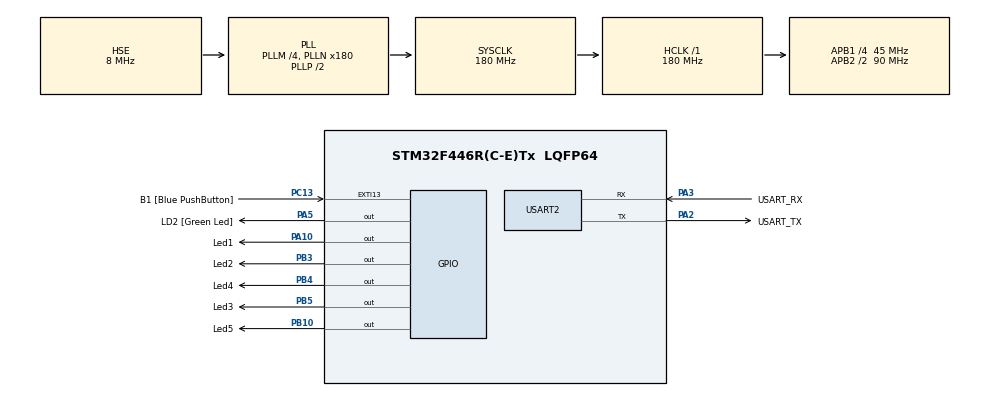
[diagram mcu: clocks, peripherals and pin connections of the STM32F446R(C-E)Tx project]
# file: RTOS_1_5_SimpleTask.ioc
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FREERTOS.Tasks01=Task1,0,128,Task1_init,Default,NULL,Dynamic,NULL,NULL;Task2,0,128,Task2_init,Default,NULL,Dynamic,NULL,NULL;Task3,0,128,Task3_init,Default,NULL,Dynamic,NULL,NULL;Task4,0,128,Task4_init,Default,NULL,Dynamic,NULL,NULL;Task5,0,128,Task5_init,Default,NULL,Dynamic,NULL,NULL
FREERTOS.configUSE_NEWLIB_REENTRANT=0
Mcu.Family=STM32F4
Mcu.Name=STM32F446R(C-E)Tx
Mcu.Package=LQFP64
NVIC.PriorityGroup=NVIC_PRIORITYGROUP_4
NVIC.TIM1_UP_TIM10_IRQn=true\:15\:0\:false\:false\:true\:false\:false\:true\:true
NVIC.TimeBase=TIM1_UP_TIM10_IRQn
NVIC.TimeBaseIP=TIM1
PA10.GPIO_Label=Led1
PA10.Signal=GPIO_Output
PA13.GPIO_Label=TMS
PA13.Mode=Serial_Wire
PA13.Signal=SYS_JTMS-SWDIO
PA14.GPIO_Label=TCK
PA14.Mode=Serial_Wire
PA14.Signal=SYS_JTCK-SWCLK
PA2.GPIO_Label=USART_TX
PA2.Mode=Asynchronous
PA2.Signal=USART2_TX
PA3.GPIO_Label=USART_RX
PA3.Mode=Asynchronous
PA3.Signal=USART2_RX
PA5.GPIO_Label=LD2 [Green Led]
PA5.Signal=GPIO_Output
PB10.GPIO_Label=Led5
PB10.Signal=GPIO_Output
PB3.GPIO_Label=Led2
PB3.Signal=GPIO_Output
PB4.GPIO_Label=Led4
PB4.Signal=GPIO_Output
PB5.GPIO_Label=Led3
PB5.Signal=GPIO_Output
PC13.GPIO_Label=B1 [Blue PushButton]
PC13.GPIO_ModeDefaultEXTI=GPIO_MODE_IT_FALLING
PC13.Signal=GPXTI13
PC14-OSC32_IN.Mode=LSE-External-Oscillator
PC14-OSC32_IN.Signal=RCC_OSC32_IN
PC15-OSC32_OUT.Mode=LSE-External-Oscillator
PC15-OSC32_OUT.Signal=RCC_OSC32_OUT
PH0-OSC_IN.Mode=HSE-External-Oscillator
PH0-OSC_IN.Signal=RCC_OSC_IN
PH1-OSC_OUT.Mode=HSE-External-Oscillator
PH1-OSC_OUT.Signal=RCC_OSC_OUT
ProjectManager.HeapSize=0x200
ProjectManager.StackSize=0x400
ProjectManager.TargetToolchain=STM32CubeIDE
RCC.48MHZClocksFreq_Value=84000000
RCC.AHBFreq_Value=180000000
RCC.APB1CLKDivider=RCC_HCLK_DIV4
RCC.APB1Freq_Value=45000000
RCC.APB1TimFreq_Value=90000000
RCC.APB2CLKDivider=RCC_HCLK_DIV2
RCC.APB2Freq_Value=90000000
RCC.APB2TimFreq_Value=180000000
RCC.CortexFreq_Value=180000000
RCC.FLatency-AdvancedSettings=FLASH_LATENCY_5
RCC.HCLKFreq_Value=180000000
RCC.HSE_VALUE=8000000
RCC.HSI_VALUE=16000000
RCC.PLLM=4
RCC.PLLN=180
RCC.PLLSourceVirtual=RCC_PLLSOURCE_HSE
RCC.SYSCLKFreq_VALUE=180000000
RCC.SYSCLKSource=RCC_SYSCLKSOURCE_PLLCLK
RCC.USBFreq_Value=180000000
RCC.VCOOutputFreq_Value=360000000
USART2.VirtualMode=VM_ASYNC
VP_FREERTOS_VS_CMSIS_V1.Mode=CMSIS_V1
VP_SYS_VS_tim1.Mode=TIM1
board=NUCLEO-F446RE

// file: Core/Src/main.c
/* USER CODE BEGIN Header */
/**
  ******************************************************************************
  * @file           : main.c
  * @brief          : Main program body
  ******************************************************************************
  * @attention
  *
  * Copyright (c) 2024 STMicroelectronics.
  * All rights reserved.
  *
  * This software is licensed under terms that can be found in the LICENSE file
  * in the root directory of this software component.
  * If no LICENSE file comes with this software, it is provided AS-IS.
  *
  ******************************************************************************
  */
/* USER CODE END Header */
#include "main.h"
#include "cmsis_os.h"

UART_HandleTypeDef huart2;

osThreadId Task1Handle;
osThreadId Task2Handle;
osThreadId Task3Handle;
osThreadId Task4Handle;
osThreadId Task5Handle;

void SystemClock_Config(void);
static void MX_GPIO_Init(void);
static void MX_USART2_UART_Init(void);
void Task1_init(void const * argument);
void Task2_init(void const * argument);
void Task3_init(void const * argument);
void Task4_init(void const * argument);
void Task5_init(void const * argument);

/* USER CODE BEGIN PFP */
void Task1_Process( void ) {

	HAL_UART_Transmit(&huart2,(uint8_t *) "Task 1 2CompldasdasasadadasdadasdasdasdasdasdasadadadadasdasadadvvvvvvvvvvvvvvvvvvvvvvvvvvvvvvvvvvvvvvvvcccccccccccccccccccccccccccccccccxxxxxxxxxxxxxxxxxxxxxxxxxxxxxxxxxxxxxxxxxxxxxxxxxxxxxxxxddddddddddddddddddddddddddddddddddddddddddddddddddddddddddddddddddddddddddddddddddddddddddddddddddddddddddddddddddddddddddddddddddddddddddddddddddddddddddddddddddddddddddddddddddddddddddddddddddddddddddddddddddddddddddddddddddddddddddddddddddddddddddddddddddddddddddddddddddddddddddddddddddddddddddddddddddddddddddddddddddddddddddddddddddddddddddddddddddddddddddddddddddddddddddddddddddddddddddddddddddddddddddddddddddddddddddddddddddddddetedCompdfsfsfsfsfsfdfffffffffffffffffffffffffffffffffffffffffffffffffffffffffffffffffffffffffffffffffffffffffffffffffffffffffffffffffffffffffffffffffffffffffffffffffffffffffffffffffffffffffffffffffffffffffffffffffffffffffffffffffffffffffffffffffffffffffffffffffffffffffffffffffffffffffffffffffffffffffffffffffffffffffffffffffffffffffffffffffffffffffffffffffffffffffffffleted\r\n", 2048, 500);
	HAL_GPIO_TogglePin(Led1_GPIO_Port, Led1_Pin);
}

void Task2_Process( void ) {

	HAL_UART_Transmit(&huart2,(uint8_t *) "Task 2Compldasdasasadadasdadasdasdasdasdasdasadadadadasdasadadvvvvvvvvvvvvvvvvvvvvvvvvvvvvvvvvvvvvvvvvcccccccccccccccccccccccccccccccccxxxxxxxxxxxxxxxxxxxxxxxxxxxxxxxxxxxxxxxxxxxxxxxxxxxxxxxxddddddddddddddddddddddddddddddddddddddddddddddddddddddddddddddddddddddddddddddddddddddddddddddddddddddddddddddddddddddddddddddddddddddddddddddddddddddddddddddddddddddddddddddddddddddddddddddddddddddddddddddddddddddddddddddddddddddddddddddddddddddddddddddddddddddddddddddddddddddddddddddddddddddddddddddddddddddddddddddddddddddddddddddddddddddddddddddddddddddddddddddddddddddddddddddddddddddddddddddddddddddddddddddddddddddddddddddddddddddeted Compldasdasasadadasdadasdasdasdasdasdasadadadadasdasadadvvvvvvvvvvvvvvvvvvvvvvvvvvvvvvvvvvvvvvvvcccccccccccccccccccccccccccccccccxxxxxxxxxxxxxxxxxxxxxxxxxxxxxxxxxxxxxxxxxxxxxxxxxxxxxxxxddddddddddddddddddddddddddddddddddddddddddddddddddddddddddddddddddddddddddddddddddddddddddddddddddddddddddddddddddddddddddddddddddddddddddddddddddddddddddddddddddddddddddddddddddddddddddddddddddddddddddddddddddddddddddddddddddddddddddddddddddddddddddddddddddddddddddddddddddddddddddddddddddddddddddddddddddddddddddddddddddddddddddddddddddddddddddddddddddddddddddddddddddddddddddddddddddddddddddddddddddddddddddddddddddddddddddddddddddddddeted\r\n", 2048, 500);
	HAL_GPIO_TogglePin(Led2_GPIO_Port, Led2_Pin);
}

void Task3_Process( void ) {

	HAL_UART_Transmit(&huart2,(uint8_t *) "Task 3 2Compldasdasasadadasdadasdasdasdasdasdasadadadadasdasadadvvvvvvvvvvvvvvvvvvvvvvvvvvvvvvvvvvvvvvvvcccccccccccccccccccccccccccccccccxxxxxxxxxxxxxxxxxxxxxxxxxxxxxxxxxxxxxxxxxxxxxxxxxxxxxxxxddddddddddddddddddddddddddddddddddddddddddddddddddddddddddddddddddddddddddddddddddddddddddddddddddddddddddddddddddddddddddddddddddddddddddddddddddddddddddddddddddddddddddddddddddddddddddddddddddddddddddddddddddddddddddddddddddddddddddddddddddddddddddddddddddddddddddddddddddddddddddddddddddddddddddddddddddddddddddddddddddddddddddddddddddddddddddddddddddddddddddddddddddddddddddddddddddddddddddddddddddddddddddddddddddddddddddddddddddddddeted2Compldasdasasadadasdadasdasdasdasdasdasadadadadasdasadadvvvvvvvvvvvvvvvvvvvvvvvvvvvvvvvvvvvvvvvvcccccccccccccccccccccccccccccccccxxxxxxxxxxxxxxxxxxxxxxxxxxxxxxxxxxxxxxxxxxxxxxxxxxxxxxxxddddddddddddddddddddddddddddddddddddddddddddddddddddddddddddddddddddddddddddddddddddddddddddddddddddddddddddddddddddddddddddddddddddddddddddddddddddddddddddddddddddddddddddddddddddddddddddddddddddddddddddddddddddddddddddddddddddddddddddddddddddddddddddddddddddddddddddddddddddddddddddddddddddddddddddddddddddddddddddddddddddddddddddddddddddddddddddddddddddddddddddddddddddddddddddddddddddddddddddddddddddddddddddddddddddddddddddddddddddddeted\r\n", 2048, 500);
	HAL_GPIO_TogglePin(Led3_GPIO_Port, Led3_Pin);
}

void Task4_Process( void ) {

	HAL_UART_Transmit(&huart2,(uint8_t *) "Task 4 22CompldasdasasadadasdadasdasdasdasdasdasadadadadasdasadadvvvvvvvvvvvvvvvvvvvvvvvvvvvvvvvvvvvvvvvvcccccccccccccccccccccccccccccccccxxxxxxxxxxxxxxxxxxxxxxxxxxxxxxxxxxxxxxxxxxxxxxxxxxxxxxxxddddddddddddddddddddddddddddddddddddddddddddddddddddddddddddddddddddddddddddddddddddddddddddddddddddddddddddddddddddddddddddddddddddddddddddddddddddddddddddddddddddddddddddddddddddddddddddddddddddddddddddddddddddddddddddddddddddddddddddddddddddddddddddddddddddddddddddddddddddddddddddddddddddddddddddddddddddddddddddddddddddddddddddddddddddddddddddddddddddddddddddddddddddddddddddddddddddddddddddddddddddddddddddddddddddddddddddddddddddddetedCompldasdasasadadasdadasdasdasdasdasdasadadadadasdasadadvvvvvvvvvvvvvvvvvvvvvvvvvvvvvvvvvvvvvvvvcccccccccccccccccccccccccccccccccxxxxxxxxxxxxxxxxxxxxxxxxxxxxxxxxxxxxxxxxxxxxxxxxxxxxxxxxddddddddddddddddddddddddddddddddddddddddddddddddddddddddddddddddddddddddddddddddddddddddddddddddddddddddddddddddddddddddddddddddddddddddddddddddddddddddddddddddddddddddddddddddddddddddddddddddddddddddddddddddddddddddddddddddddddddddddddddddddddddddddddddddddddddddddddddddddddddddddddddddddddddddddddddddddddddddddddddddddddddddddddddddddddddddddddddddddddddddddddddddddddddddddddddddddddddddddddddddddddddddddddddddddddddddddddddddddddddeted2CompldasdasasadadasdadasdasdasdasdasdasadadadadasdasadadvvvvvvvvvvvvvvvvvvvvvvvvvvvvvvvvvvvvvvvvcccccccccccccccccccccccccccccccccxxxxxxxxxxxxxxxxxxxxxxxxxxxxxxxxxxxxxxxxxxxxxxxxxxxxxxxxddddddddddddddddddddddddddddddddddddddddddddddddddddddddddddddddddddddddddddddddddddddddddddddddddddddddddddddddddddddddddddddddddddddddddddddddddddddddddddddddddddddddddddddddddddddddddddddddddddddddddddddddddddddddddddddddddddddddddddddddddddddddddddddddddddddddddddddddddddddddddddddddddddddddddddddddddddddddddddddddddddddddddddddddddddddddddddddddddddddddddddddddddddddddddddddddddddddddddddddddddddddddddddddddddddddddddddddddddddddetedCompleted\r\n", 2048, 500);
	HAL_GPIO_TogglePin(Led4_GPIO_Port, Led4_Pin);
}

void Task5_Process( void ) {

	HAL_UART_Transmit(&huart2,(uint8_t *) "Task 5 Completed\r\n", 18, 500);
	HAL_GPIO_TogglePin(Led5_GPIO_Port, Led5_Pin);
}
/* USER CODE END PFP */

int main(void)
{

  /* MCU Configuration--------------------------------------------------------*/

  /* Reset of all peripherals, Initializes the Flash interface and the Systick. */
  HAL_Init();

  /* Configure the system clock */
  SystemClock_Config();

  /* Initialize all configured peripherals */
  MX_GPIO_Init();
  MX_USART2_UART_Init();

  /* Create the thread(s) */
  /* definition and creation of Task1 */
  osThreadDef(Task1, Task1_init, osPriorityNormal, 0, 128);
  Task1Handle = osThreadCreate(osThread(Task1), NULL);

  /* definition and creation of Task2 */
  osThreadDef(Task2, Task2_init, osPriorityNormal, 0, 128);
  Task2Handle = osThreadCreate(osThread(Task2), NULL);

  /* definition and creation of Task3 */
  osThreadDef(Task3, Task3_init, osPriorityNormal, 0, 128);
  Task3Handle = osThreadCreate(osThread(Task3), NULL);

  /* definition and creation of Task4 */
  osThreadDef(Task4, Task4_init, osPriorityNormal, 0, 128);
  Task4Handle = osThreadCreate(osThread(Task4), NULL);

  /* definition and creation of Task5 */
  osThreadDef(Task5, Task5_init, osPriorityNormal, 0, 128);
  Task5Handle = osThreadCreate(osThread(Task5), NULL);

  /* Start scheduler */
  osKernelStart();
  /* We should never get here as control is now taken by the scheduler */
  /* Infinite loop */
  while (1)
  {

  }
}

void SystemClock_Config(void)
{
  RCC_OscInitTypeDef RCC_OscInitStruct = {0};
  RCC_ClkInitTypeDef RCC_ClkInitStruct = {0};

  /** Configure the main internal regulator output voltage
  */
  __HAL_RCC_PWR_CLK_ENABLE();
  __HAL_PWR_VOLTAGESCALING_CONFIG(PWR_REGULATOR_VOLTAGE_SCALE1);

  /** Initializes the RCC Oscillators according to the specified parameters
  * in the RCC_OscInitTypeDef structure.
  */
  RCC_OscInitStruct.OscillatorType = RCC_OSCILLATORTYPE_HSE;
  RCC_OscInitStruct.HSEState = RCC_HSE_ON;
  RCC_OscInitStruct.PLL.PLLState = RCC_PLL_ON;
  RCC_OscInitStruct.PLL.PLLSource = RCC_PLLSOURCE_HSE;
  RCC_OscInitStruct.PLL.PLLM = 4;
  RCC_OscInitStruct.PLL.PLLN = 180;
  RCC_OscInitStruct.PLL.PLLP = RCC_PLLP_DIV2;
  RCC_OscInitStruct.PLL.PLLQ = 2;
  RCC_OscInitStruct.PLL.PLLR = 2;
  if (HAL_RCC_OscConfig(&RCC_OscInitStruct) != HAL_OK)
  {
    Error_Handler();
  }

  /** Activate the Over-Drive mode
  */
  if (HAL_PWREx_EnableOverDrive() != HAL_OK)
  {
    Error_Handler();
  }

  /** Initializes the CPU, AHB and APB buses clocks
  */
  RCC_ClkInitStruct.ClockType = RCC_CLOCKTYPE_HCLK|RCC_CLOCKTYPE_SYSCLK
                              |RCC_CLOCKTYPE_PCLK1|RCC_CLOCKTYPE_PCLK2;
  RCC_ClkInitStruct.SYSCLKSource = RCC_SYSCLKSOURCE_PLLCLK;
  RCC_ClkInitStruct.AHBCLKDivider = RCC_SYSCLK_DIV1;
  RCC_ClkInitStruct.APB1CLKDivider = RCC_HCLK_DIV4;
  RCC_ClkInitStruct.APB2CLKDivider = RCC_HCLK_DIV2;

  if (HAL_RCC_ClockConfig(&RCC_ClkInitStruct, FLASH_LATENCY_5) != HAL_OK)
  {
    Error_Handler();
  }
}

static void MX_USART2_UART_Init(void)
{

  huart2.Instance = USART2;
  huart2.Init.BaudRate = 115200;
  huart2.Init.WordLength = UART_WORDLENGTH_8B;
  huart2.Init.StopBits = UART_STOPBITS_1;
  huart2.Init.Parity = UART_PARITY_NONE;
  huart2.Init.Mode = UART_MODE_TX_RX;
  huart2.Init.HwFlowCtl = UART_HWCONTROL_NONE;
  huart2.Init.OverSampling = UART_OVERSAMPLING_16;
  if (HAL_UART_Init(&huart2) != HAL_OK)
  {
    Error_Handler();
  }

}

static void MX_GPIO_Init(void)
{
  GPIO_InitTypeDef GPIO_InitStruct = {0};

  /* GPIO Ports Clock Enable */
  __HAL_RCC_GPIOC_CLK_ENABLE();
  __HAL_RCC_GPIOH_CLK_ENABLE();
  __HAL_RCC_GPIOA_CLK_ENABLE();
  __HAL_RCC_GPIOB_CLK_ENABLE();

  /*Configure GPIO pin Output Level */
  HAL_GPIO_WritePin(GPIOA, LD2_Pin|Led1_Pin, GPIO_PIN_RESET);

  /*Configure GPIO pin Output Level */
  HAL_GPIO_WritePin(GPIOB, Led5_Pin|Led2_Pin|Led4_Pin|Led3_Pin, GPIO_PIN_RESET);

  /*Configure GPIO pin : B1_Pin */
  GPIO_InitStruct.Pin = B1_Pin;
  GPIO_InitStruct.Mode = GPIO_MODE_IT_FALLING;
  GPIO_InitStruct.Pull = GPIO_NOPULL;
  HAL_GPIO_Init(B1_GPIO_Port, &GPIO_InitStruct);

  /*Configure GPIO pins : LD2_Pin Led1_Pin */
  GPIO_InitStruct.Pin = LD2_Pin|Led1_Pin;
  GPIO_InitStruct.Mode = GPIO_MODE_OUTPUT_PP;
  GPIO_InitStruct.Pull = GPIO_NOPULL;
  GPIO_InitStruct.Speed = GPIO_SPEED_FREQ_LOW;
  HAL_GPIO_Init(GPIOA, &GPIO_InitStruct);

  /*Configure GPIO pins : Led5_Pin Led2_Pin Led4_Pin Led3_Pin */
  GPIO_InitStruct.Pin = Led5_Pin|Led2_Pin|Led4_Pin|Led3_Pin;
  GPIO_InitStruct.Mode = GPIO_MODE_OUTPUT_PP;
  GPIO_InitStruct.Pull = GPIO_NOPULL;
  GPIO_InitStruct.Speed = GPIO_SPEED_FREQ_LOW;
  HAL_GPIO_Init(GPIOB, &GPIO_InitStruct);

}

void Task1_init(void const * argument)
{
  /* USER CODE BEGIN 5 */
  /* Infinite loop */
  for(;;)
  {
	Task1_Process();
    osDelay(100);
  }
  /* USER CODE END 5 */
}

void Task2_init(void const * argument)
{
  /* USER CODE BEGIN Task2_init */
  /* Infinite loop */
  for(;;)
  {
	  Task2_Process();
	      osDelay(200);
  }
  /* USER CODE END Task2_init */
}

void Task3_init(void const * argument)
{
  /* USER CODE BEGIN Task3_init */
  /* Infinite loop */
  for(;;)
  {
	  Task3_Process();
	      osDelay(300);
  }
  /* USER CODE END Task3_init */
}

void Task4_init(void const * argument)
{
  /* USER CODE BEGIN Task4_init */
  /* Infinite loop */
  for(;;)
  {
	  Task4_Process();
	      osDelay(400);
  }
  /* USER CODE END Task4_init */
}

void Task5_init(void const * argument)
{
  /* USER CODE BEGIN Task5_init */
  /* Infinite loop */
  for(;;)
  {
	  Task5_Process();
	      osDelay(500);
  }
  /* USER CODE END Task5_init */
}

void HAL_TIM_PeriodElapsedCallback(TIM_HandleTypeDef *htim)
{
  if (htim->Instance == TIM1) {
    HAL_IncTick();
  }
}

void Error_Handler(void)
{
  __disable_irq();
  while (1)
  {
  }
}
